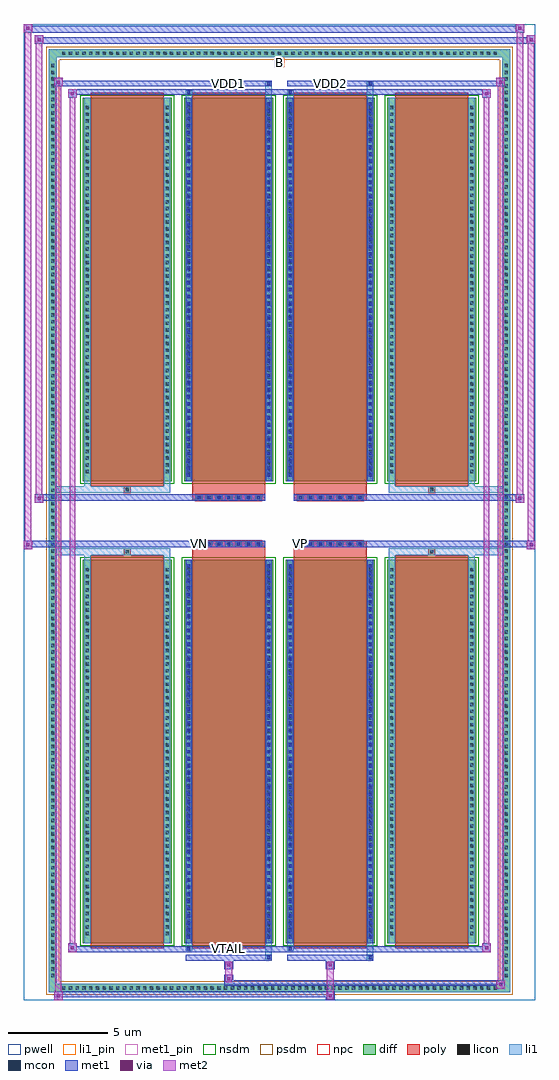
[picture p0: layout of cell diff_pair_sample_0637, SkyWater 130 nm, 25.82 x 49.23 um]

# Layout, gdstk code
import gdstk
lib = gdstk.Library(unit=1e-6, precision=5e-09)
def R(c, l, rs):  # rectangles x0, y0, x1, y1
    for r in rs: c.add(gdstk.rectangle(r[:2], r[2:], *l))
def A(c, l, x, y, w, h, nx, ny, dx, dy):  # array of equal rectangles
    R(c, l, [(x+i*dx, y+j*dy, x+i*dx+w, y+j*dy+h) for i in range(nx) for j in range(ny)])
def P(c, l, *ps):  # polygons
    for p in ps: c.add(gdstk.Polygon(p, *l))
pwell = (64, 44)
diff = (65, 20)
poly = (66, 20)
licon = (66, 44)
li1_pin = (67, 16)
li1 = (67, 20)
mcon = (67, 44)
met1_pin = (68, 16)
met1 = (68, 20)
via = (68, 44)
met2 = (69, 20)
nsdm = (93, 44)
psdm = (94, 20)
npc = (95, 20)

diff_pair_sample_0637 = lib.new_cell('diff_pair_sample_0637')
R(diff_pair_sample_0637, pwell, [(-12.91,-24.18,12.91,25.05), (-10.23,-22.37,-0.01,-0.805), (0.01,-22.37,10.23,-0.805), (-10.23,0.805,-0.01,22.37), (0.01,0.805,10.23,22.37)])
A(diff_pair_sample_0637, diff, -11.085, -23.78, 0.41, 0.41, 65, 2, 0.34, 47.15)
A(diff_pair_sample_0637, diff, -11.64, -23.155, 0.41, 0.41, 1, 136, 0, 0.34)
A(diff_pair_sample_0637, diff, 11.23, -23.155, 0.41, 0.41, 1, 136, 0, 0.34)
A(diff_pair_sample_0637, diff, -9.92, -21.325, 4.48, 19.34, 4, 2, 5.12, 23.31)
R(diff_pair_sample_0637, diff, [(-11.085,-23.78,11.085,-23.37), (-11.64,-23.155,-11.23,23.155), (11.23,-23.155,11.64,23.155), (-11.085,23.37,11.085,23.78)])
P(diff_pair_sample_0637, diff, [(11.64,23.78),(-11.64,23.78),(-11.64,-23.37),(-11.23,-23.37),(-11.23,23.37),(11.23,23.37),(11.23,-23.37),(-11.23,-23.37),(-11.64,-23.37),(-11.64,-23.78),(11.64,-23.78)])
A(diff_pair_sample_0637, poly, -9.53, -21.575, 3.7, 19.84, 4, 2, 5.12, 23.31)
A(diff_pair_sample_0637, poly, -4.225, -1.335, 0.33, 0.33, 7, 2, 0.5, 2.34)
A(diff_pair_sample_0637, poly, 0.895, -1.335, 0.33, 0.33, 7, 2, 0.5, 2.34)
R(diff_pair_sample_0637, poly, [(-7.845,-1.735,-7.515,-1.405), (-7.845,-1.735,-7.515,-1.405), (-4.41,-1.735,-0.71,-1.335), (0.71,-1.735,4.41,-1.335), (7.515,-1.735,7.845,-1.405), (7.515,-1.735,7.845,-1.405), (-4.41,-1.335,-0.71,-1.005), (0.71,-1.335,4.41,-1.005), (-4.41,1.005,-0.71,1.335), (0.71,1.005,4.41,1.335), (-4.41,1.335,-0.71,1.735), (0.71,1.335,4.41,1.735), (-7.845,1.405,-7.515,1.735), (-7.845,1.405,-7.515,1.735), (7.515,1.405,7.845,1.735), (7.515,1.405,7.845,1.735)])
A(diff_pair_sample_0637, licon, -10.965, -23.66, 0.17, 0.17, 65, 2, 0.34, 47.15)
A(diff_pair_sample_0637, licon, -11.52, -23.035, 0.17, 0.17, 1, 136, 0, 0.34)
A(diff_pair_sample_0637, licon, 11.35, -23.035, 0.17, 0.17, 1, 136, 0, 0.34)
A(diff_pair_sample_0637, licon, -9.78, -20.92, 0.17, 0.17, 1, 55, 0, 0.34)
A(diff_pair_sample_0637, licon, -5.75, -20.92, 0.17, 0.17, 1, 55, 0, 0.34)
A(diff_pair_sample_0637, licon, -4.66, -20.92, 0.17, 0.17, 1, 55, 0, 0.34)
A(diff_pair_sample_0637, licon, -0.63, -20.92, 0.17, 0.17, 1, 55, 0, 0.34)
A(diff_pair_sample_0637, licon, 0.46, -20.92, 0.17, 0.17, 1, 55, 0, 0.34)
A(diff_pair_sample_0637, licon, 4.49, -20.92, 0.17, 0.17, 1, 55, 0, 0.34)
A(diff_pair_sample_0637, licon, 5.58, -20.92, 0.17, 0.17, 1, 55, 0, 0.34)
A(diff_pair_sample_0637, licon, 9.61, -20.92, 0.17, 0.17, 1, 55, 0, 0.34)
A(diff_pair_sample_0637, licon, -4.145, -1.255, 0.17, 0.17, 7, 2, 0.5, 2.34)
A(diff_pair_sample_0637, licon, 0.975, -1.255, 0.17, 0.17, 7, 2, 0.5, 2.34)
A(diff_pair_sample_0637, licon, -9.78, 2.39, 0.17, 0.17, 1, 55, 0, 0.34)
A(diff_pair_sample_0637, licon, -5.75, 2.39, 0.17, 0.17, 1, 55, 0, 0.34)
A(diff_pair_sample_0637, licon, -4.66, 2.39, 0.17, 0.17, 1, 55, 0, 0.34)
A(diff_pair_sample_0637, licon, -0.63, 2.39, 0.17, 0.17, 1, 55, 0, 0.34)
A(diff_pair_sample_0637, licon, 0.46, 2.39, 0.17, 0.17, 1, 55, 0, 0.34)
A(diff_pair_sample_0637, licon, 4.49, 2.39, 0.17, 0.17, 1, 55, 0, 0.34)
A(diff_pair_sample_0637, licon, 5.58, 2.39, 0.17, 0.17, 1, 55, 0, 0.34)
A(diff_pair_sample_0637, licon, 9.61, 2.39, 0.17, 0.17, 1, 55, 0, 0.34)
R(diff_pair_sample_0637, licon, [(-7.765,-1.655,-7.595,-1.485), (7.595,-1.655,7.765,-1.485), (-7.765,1.485,-7.595,1.655), (7.595,1.485,7.765,1.655)])
R(diff_pair_sample_0637, li1_pin, [(-0.25,22.87,0.25,23.37)])
A(diff_pair_sample_0637, li1, -11.045, -23.74, 0.33, 0.33, 65, 2, 0.34, 47.15)
A(diff_pair_sample_0637, li1, -11.6, -23.115, 0.33, 0.33, 1, 136, 0, 0.34)
A(diff_pair_sample_0637, li1, 11.27, -23.115, 0.33, 0.33, 1, 136, 0, 0.34)
A(diff_pair_sample_0637, li1, -4.66, -21.1, 0.17, 0.17, 1, 53, 0, 0.36)
A(diff_pair_sample_0637, li1, -0.63, -21.1, 0.17, 0.17, 1, 53, 0, 0.36)
A(diff_pair_sample_0637, li1, 0.46, -21.1, 0.17, 0.17, 1, 53, 0, 0.36)
A(diff_pair_sample_0637, li1, 4.49, -21.1, 0.17, 0.17, 1, 53, 0, 0.36)
A(diff_pair_sample_0637, li1, -9.86, -21, 0.33, 0.33, 1, 55, 0, 0.34)
A(diff_pair_sample_0637, li1, -5.83, -21, 0.33, 0.33, 1, 55, 0, 0.34)
A(diff_pair_sample_0637, li1, -4.74, -21, 0.33, 0.33, 1, 55, 0, 0.34)
A(diff_pair_sample_0637, li1, -0.71, -21, 0.33, 0.33, 1, 55, 0, 0.34)
A(diff_pair_sample_0637, li1, 0.38, -21, 0.33, 0.33, 1, 55, 0, 0.34)
A(diff_pair_sample_0637, li1, 4.41, -21, 0.33, 0.33, 1, 55, 0, 0.34)
A(diff_pair_sample_0637, li1, 5.5, -21, 0.33, 0.33, 1, 55, 0, 0.34)
A(diff_pair_sample_0637, li1, 9.53, -21, 0.33, 0.33, 1, 55, 0, 0.34)
A(diff_pair_sample_0637, li1, -4.225, -1.335, 0.33, 0.33, 7, 2, 0.5, 2.34)
A(diff_pair_sample_0637, li1, 0.895, -1.335, 0.33, 0.33, 7, 2, 0.5, 2.34)
A(diff_pair_sample_0637, li1, -4.66, 2.21, 0.17, 0.17, 1, 53, 0, 0.36)
A(diff_pair_sample_0637, li1, -0.63, 2.21, 0.17, 0.17, 1, 53, 0, 0.36)
A(diff_pair_sample_0637, li1, 0.46, 2.21, 0.17, 0.17, 1, 53, 0, 0.36)
A(diff_pair_sample_0637, li1, 4.49, 2.21, 0.17, 0.17, 1, 53, 0, 0.36)
A(diff_pair_sample_0637, li1, -9.86, 2.31, 0.33, 0.33, 1, 55, 0, 0.34)
A(diff_pair_sample_0637, li1, -5.83, 2.31, 0.33, 0.33, 1, 55, 0, 0.34)
A(diff_pair_sample_0637, li1, -4.74, 2.31, 0.33, 0.33, 1, 55, 0, 0.34)
A(diff_pair_sample_0637, li1, -0.71, 2.31, 0.33, 0.33, 1, 55, 0, 0.34)
A(diff_pair_sample_0637, li1, 0.38, 2.31, 0.33, 0.33, 1, 55, 0, 0.34)
A(diff_pair_sample_0637, li1, 4.41, 2.31, 0.33, 0.33, 1, 55, 0, 0.34)
A(diff_pair_sample_0637, li1, 5.5, 2.31, 0.33, 0.33, 1, 55, 0, 0.34)
A(diff_pair_sample_0637, li1, 9.53, 2.31, 0.33, 0.33, 1, 55, 0, 0.34)
R(diff_pair_sample_0637, li1, [(-11.64,-23.78,-11.23,-23.37), (-11.64,-23.78,-11.23,-23.37), (-11.23,-23.78,11.23,-23.37), (11.23,-23.78,11.64,-23.37), (11.23,-23.78,11.64,-23.37), (-11.64,-23.37,-11.23,23.37), (11.23,-23.37,11.64,23.37), (-0.71,-22.13,-0.38,-21.325), (-0.63,-22.13,-0.46,-21.96), (4.41,-22.13,4.74,-21.325), (4.49,-22.13,4.66,-21.96), (-4.74,-21.7,-4.41,-21.325), (-4.66,-21.7,-4.49,-21.53), (0.38,-21.7,0.71,-21.325), (0.46,-21.7,0.63,-21.53), (-9.86,-21.325,-9.53,-1.985), (-5.83,-21.325,-5.5,-1.985), (-4.74,-21.325,-4.41,-1.985), (-0.71,-21.325,-0.38,-1.985), (0.38,-21.325,0.71,-1.985), (4.41,-21.325,4.74,-1.985), (5.5,-21.325,5.83,-1.985), (9.53,-21.325,9.86,-1.985), (-4.66,-21.1,-4.49,-2.21), (-0.63,-21.1,-0.46,-2.21), (0.46,-21.1,0.63,-2.21), (4.49,-21.1,4.66,-2.21), (-9.86,-1.985,-9.53,-1.405), (-5.83,-1.985,-5.5,-1.405), (5.5,-1.985,5.83,-1.405), (9.53,-1.985,9.86,-1.405), (-11.64,-1.735,-7.845,-1.405), (-9.86,-1.735,-7.845,-1.405), (-7.845,-1.735,-7.515,-1.405), (-7.515,-1.735,-5.5,-1.405), (5.5,-1.735,7.515,-1.405), (7.515,-1.735,7.845,-1.405), (7.515,-1.735,11.64,-1.405), (7.845,-1.735,9.86,-1.405), (-11.64,1.405,-7.845,1.735), (-9.86,1.405,-7.845,1.735), (-9.86,1.405,-9.53,1.985), (-7.845,1.405,-7.515,1.735), (-7.515,1.405,-5.5,1.735), (-5.83,1.405,-5.5,1.985), (5.5,1.405,7.515,1.735), (5.5,1.405,5.83,1.985), (7.515,1.405,7.845,1.735), (7.515,1.405,11.64,1.735), (7.845,1.405,9.86,1.735), (9.53,1.405,9.86,1.985), (-9.86,1.985,-9.53,21.325), (-5.83,1.985,-5.5,21.325), (-4.74,1.985,-4.41,21.325), (-0.71,1.985,-0.38,21.325), (0.38,1.985,0.71,21.325), (4.41,1.985,4.74,21.325), (5.5,1.985,5.83,21.325), (9.53,1.985,9.86,21.325), (-4.66,2.21,-4.49,21.1), (-0.63,2.21,-0.46,21.1), (0.46,2.21,0.63,21.1), (4.49,2.21,4.66,21.1), (-4.74,21.325,-4.41,21.7), (-0.71,21.325,-0.38,22.13), (0.38,21.325,0.71,21.7), (4.41,21.325,4.74,22.13), (-4.66,21.53,-4.49,21.7), (0.46,21.53,0.63,21.7), (-0.63,21.96,-0.46,22.13), (4.49,21.96,4.66,22.13), (-11.64,23.37,-11.23,23.78), (-11.64,23.37,-11.23,23.78), (-11.23,23.37,11.23,23.78), (11.23,23.37,11.64,23.78), (11.23,23.37,11.64,23.78)])
A(diff_pair_sample_0637, mcon, -4.66, -21.1, 0.17, 0.17, 1, 53, 0, 0.36)
A(diff_pair_sample_0637, mcon, -0.63, -21.1, 0.17, 0.17, 1, 53, 0, 0.36)
A(diff_pair_sample_0637, mcon, 0.46, -21.1, 0.17, 0.17, 1, 53, 0, 0.36)
A(diff_pair_sample_0637, mcon, 4.49, -21.1, 0.17, 0.17, 1, 53, 0, 0.36)
A(diff_pair_sample_0637, mcon, -4.145, -1.255, 0.17, 0.17, 7, 2, 0.5, 2.34)
A(diff_pair_sample_0637, mcon, 0.975, -1.255, 0.17, 0.17, 7, 2, 0.5, 2.34)
A(diff_pair_sample_0637, mcon, -4.66, 2.21, 0.17, 0.17, 1, 53, 0, 0.36)
A(diff_pair_sample_0637, mcon, -0.63, 2.21, 0.17, 0.17, 1, 53, 0, 0.36)
A(diff_pair_sample_0637, mcon, 0.46, 2.21, 0.17, 0.17, 1, 53, 0, 0.36)
A(diff_pair_sample_0637, mcon, 4.49, 2.21, 0.17, 0.17, 1, 53, 0, 0.36)
R(diff_pair_sample_0637, mcon, [(-0.63,-22.13,-0.46,-21.96), (4.49,-22.13,4.66,-21.96), (-4.66,-21.7,-4.49,-21.53), (0.46,-21.7,0.63,-21.53), (-4.66,21.53,-4.49,21.7), (0.46,21.53,0.63,21.7), (-0.63,21.96,-0.46,22.13), (4.49,21.96,4.66,22.13)])
R(diff_pair_sample_0637, met1_pin, [(-2.695,-21.74,-2.425,-21.47), (-4.195,-1.295,-3.925,-1.025), (0.925,-1.295,1.195,-1.025), (-2.695,21.92,-2.425,22.19), (2.425,21.92,2.695,22.19)])
A(diff_pair_sample_0637, met1, -4.72, -21.16, 0.29, 0.29, 1, 53, 0, 0.36)
A(diff_pair_sample_0637, met1, -0.69, -21.16, 0.29, 0.29, 1, 53, 0, 0.36)
A(diff_pair_sample_0637, met1, 0.4, -21.16, 0.29, 0.29, 1, 53, 0, 0.36)
A(diff_pair_sample_0637, met1, 4.43, -21.16, 0.29, 0.29, 1, 53, 0, 0.36)
A(diff_pair_sample_0637, met1, -4.205, -1.315, 0.29, 0.29, 7, 2, 0.5, 2.34)
A(diff_pair_sample_0637, met1, 0.915, -1.315, 0.29, 0.29, 7, 2, 0.5, 2.34)
A(diff_pair_sample_0637, met1, -4.72, 2.15, 0.29, 0.29, 1, 53, 0, 0.36)
A(diff_pair_sample_0637, met1, -0.69, 2.15, 0.29, 0.29, 1, 53, 0, 0.36)
A(diff_pair_sample_0637, met1, 0.4, 2.15, 0.29, 0.29, 1, 53, 0, 0.36)
A(diff_pair_sample_0637, met1, 4.43, 2.15, 0.29, 0.29, 1, 53, 0, 0.36)
R(diff_pair_sample_0637, met1, [(-11.37,-24.18,-10.94,-23.75), (2.345,-24.18,2.775,-23.75), (-11.37,-24.04,2.775,-23.75), (10.94,-23.61,11.37,-23.18), (-2.775,-23.47,11.37,-23.18), (-2.775,-23.33,-2.345,-22.9), (-2.775,-22.62,-2.345,-22.19), (2.345,-22.62,2.775,-22.19), (-4.72,-22.19,-0.4,-21.9), (-0.69,-22.19,-0.4,-21.9), (0.4,-22.19,4.72,-21.9), (4.43,-22.19,4.72,-21.9), (-10.66,-21.76,-10.23,-21.33), (-10.66,-21.76,-4.72,-21.47), (-4.72,-21.76,-4.43,-21.47), (-4.72,-21.76,-0.4,-21.47), (-0.4,-21.76,0.4,-21.47), (0.4,-21.76,0.69,-21.47), (0.4,-21.76,4.72,-21.47), (4.72,-21.76,10.66,-21.47), (10.23,-21.76,10.66,-21.33), (-4.72,-21.325,-4.43,-1.985), (-0.69,-21.325,-0.4,-1.985), (0.4,-21.325,0.69,-1.985), (4.43,-21.325,4.72,-1.985), (-12.91,-1.435,-12.48,-1.005), (12.48,-1.435,12.91,-1.005), (-12.91,-1.335,-0.71,-1.005), (-4.41,-1.335,-0.71,-1.005), (0.71,-1.335,4.41,-1.005), (0.71,-1.335,12.91,-1.005), (-12.34,0.905,-11.91,1.335), (11.91,0.905,12.34,1.335), (-12.34,1.005,-4.41,1.335), (-4.41,1.005,-0.71,1.335), (0.71,1.005,4.41,1.335), (4.41,1.005,12.34,1.335), (-4.72,1.985,-4.43,21.325), (-0.69,1.985,-0.4,21.325), (0.4,1.985,0.69,21.325), (4.43,1.985,4.72,21.325), (-10.66,21.33,-10.23,21.76), (10.23,21.33,10.66,21.76), (-10.66,21.47,-4.72,21.76), (-4.72,21.47,-4.43,21.76), (-4.72,21.47,-0.4,21.76), (-0.4,21.47,0.4,21.76), (0.4,21.47,0.69,21.76), (0.4,21.47,4.72,21.76), (4.72,21.47,10.66,21.76), (-11.37,21.9,-10.94,22.33), (-11.37,21.9,-4.72,22.19), (-4.72,21.9,-0.4,22.19), (-0.69,21.9,-0.4,22.19), (0.4,21.9,4.72,22.19), (4.43,21.9,4.72,22.19), (4.72,21.9,11.37,22.19), (10.94,21.9,11.37,22.33), (-12.34,24.05,-11.91,24.48), (-12.34,24.05,-10.23,24.38), (-10.23,24.05,10.23,24.38), (10.23,24.05,12.91,24.38), (12.48,24.05,12.91,24.48), (-12.91,24.62,-12.48,25.05), (-12.91,24.62,-10.23,24.95), (-10.23,24.62,10.23,24.95), (10.23,24.62,12.34,24.95), (11.91,24.62,12.34,25.05)])
R(diff_pair_sample_0637, via, [(-11.23,-24.04,-11.08,-23.89), (2.485,-24.04,2.635,-23.89), (11.08,-23.47,11.23,-23.32), (-2.635,-23.19,-2.485,-23.04), (-2.635,-22.48,-2.485,-22.33), (2.485,-22.48,2.635,-22.33), (-10.52,-21.62,-10.37,-21.47), (10.37,-21.62,10.52,-21.47), (-12.77,-1.295,-12.62,-1.145), (12.62,-1.295,12.77,-1.145), (-12.2,1.045,-12.05,1.195), (12.05,1.045,12.2,1.195), (-10.52,21.47,-10.37,21.62), (10.37,21.47,10.52,21.62), (-11.23,22.04,-11.08,22.19), (11.08,22.04,11.23,22.19), (-12.2,24.19,-12.05,24.34), (12.62,24.19,12.77,24.34), (-12.77,24.76,-12.62,24.91), (12.05,24.76,12.2,24.91)])
R(diff_pair_sample_0637, met2, [(-11.37,-24.18,-10.94,-23.75), (-11.3,-24.18,-11.01,22.33), (-11.01,-24.18,-10.94,-23.75), (-11.32,-24.13,-10.99,-23.8), (2.395,-24.13,2.725,-23.8), (2.395,-23.8,2.725,-22.57), (10.94,-23.61,11.37,-23.18), (11.01,-23.61,11.3,22.33), (11.3,-23.61,11.37,-23.18), (10.99,-23.56,11.32,-23.23), (-2.725,-23.28,-2.395,-22.95), (-2.725,-22.95,-2.395,-22.57), (-2.725,-22.57,-2.395,-22.24), (2.395,-22.57,2.725,-22.24), (-10.66,-21.76,-10.23,-21.33), (-10.59,-21.76,-10.3,21.76), (-10.3,-21.76,-10.23,-21.33), (10.23,-21.76,10.66,-21.33), (10.3,-21.76,10.59,21.76), (10.59,-21.76,10.66,-21.33), (-10.61,-21.71,-10.28,-21.38), (10.28,-21.71,10.61,-21.38), (-12.91,-1.435,-12.48,-1.005), (-12.86,-1.435,-12.53,25.05), (-12.53,-1.435,-12.48,-1.005), (12.48,-1.435,12.91,-1.005), (12.53,-1.435,12.86,24.48), (12.86,-1.435,12.91,-1.005), (-12.86,-1.385,-12.53,-1.055), (12.53,-1.385,12.86,-1.055), (-12.34,0.905,-11.91,1.335), (-12.29,0.905,-11.96,24.48), (-11.96,0.905,-11.91,1.335), (11.91,0.905,12.34,1.335), (11.96,0.905,12.29,25.05), (12.29,0.905,12.34,1.335), (-12.29,0.955,-11.96,1.285), (11.96,0.955,12.29,1.285), (-10.66,21.33,-10.23,21.76), (-10.3,21.33,-10.23,21.76), (10.23,21.33,10.66,21.76), (10.59,21.33,10.66,21.76), (-10.61,21.38,-10.28,21.71), (10.28,21.38,10.61,21.71), (-11.37,21.9,-10.94,22.33), (-11.01,21.9,-10.94,22.33), (10.94,21.9,11.37,22.33), (11.3,21.9,11.37,22.33), (-11.32,21.95,-10.99,22.28), (10.99,21.95,11.32,22.28), (-12.34,24.05,-11.91,24.48), (-11.96,24.05,-11.91,24.48), (12.48,24.05,12.91,24.48), (12.86,24.05,12.91,24.48), (-12.29,24.1,-11.96,24.43), (12.53,24.1,12.86,24.43), (-12.91,24.62,-12.48,25.05), (-12.53,24.62,-12.48,25.05), (11.91,24.62,12.34,25.05), (12.29,24.62,12.34,25.05), (-12.86,24.67,-12.53,25), (11.96,24.67,12.29,25)])
A(diff_pair_sample_0637, nsdm, -10.05, -21.455, 4.74, 19.6, 4, 2, 5.12, 23.31)
P(diff_pair_sample_0637, psdm, [(11.77,23.91),(-11.77,23.91),(-11.77,-23.24),(-11.1,-23.24),(-11.1,23.24),(11.1,23.24),(11.1,-23.24),(-11.1,-23.24),(-11.77,-23.24),(-11.77,-23.91),(11.77,-23.91)])
A(diff_pair_sample_0637, npc, -4.245, -1.355, 0.37, 0.37, 7, 2, 0.5, 2.34)
A(diff_pair_sample_0637, npc, 0.875, -1.355, 0.37, 0.37, 7, 2, 0.5, 2.34)
R(diff_pair_sample_0637, npc, [(-7.865,-1.755,-7.495,-1.385), (7.495,-1.755,7.865,-1.385), (-4.245,-1.355,-3.375,-0.985), (-4.245,-1.355,-3.375,-0.985), (-3.745,-1.355,-2.875,-0.985), (-3.745,-1.355,-2.875,-0.985), (-3.245,-1.355,-2.375,-0.985), (-3.245,-1.355,-2.375,-0.985), (-2.745,-1.355,-1.875,-0.985), (-2.745,-1.355,-1.875,-0.985), (-2.245,-1.355,-1.375,-0.985), (-2.245,-1.355,-1.375,-0.985), (-1.745,-1.355,-0.875,-0.985), (-1.745,-1.355,-0.875,-0.985), (0.875,-1.355,1.745,-0.985), (0.875,-1.355,1.745,-0.985), (1.375,-1.355,2.245,-0.985), (1.375,-1.355,2.245,-0.985), (1.875,-1.355,2.745,-0.985), (1.875,-1.355,2.745,-0.985), (2.375,-1.355,3.245,-0.985), (2.375,-1.355,3.245,-0.985), (2.875,-1.355,3.745,-0.985), (2.875,-1.355,3.745,-0.985), (3.375,-1.355,4.245,-0.985), (3.375,-1.355,4.245,-0.985), (-4.245,0.985,-3.375,1.355), (-4.245,0.985,-3.375,1.355), (-3.745,0.985,-2.875,1.355), (-3.745,0.985,-2.875,1.355), (-3.245,0.985,-2.375,1.355), (-3.245,0.985,-2.375,1.355), (-2.745,0.985,-1.875,1.355), (-2.745,0.985,-1.875,1.355), (-2.245,0.985,-1.375,1.355), (-2.245,0.985,-1.375,1.355), (-1.745,0.985,-0.875,1.355), (-1.745,0.985,-0.875,1.355), (0.875,0.985,1.745,1.355), (0.875,0.985,1.745,1.355), (1.375,0.985,2.245,1.355), (1.375,0.985,2.245,1.355), (1.875,0.985,2.745,1.355), (1.875,0.985,2.745,1.355), (2.375,0.985,3.245,1.355), (2.375,0.985,3.245,1.355), (2.875,0.985,3.745,1.355), (2.875,0.985,3.745,1.355), (3.375,0.985,4.245,1.355), (3.375,0.985,4.245,1.355), (-7.865,1.385,-7.495,1.755), (7.495,1.385,7.865,1.755)])
diff_pair_sample_0637.add(gdstk.Label('VTAIL', (-2.56,-21.605), layer=68, texttype=5))
diff_pair_sample_0637.add(gdstk.Label('VN', (-4.06,-1.16), layer=68, texttype=5))
diff_pair_sample_0637.add(gdstk.Label('VP', (1.06,-1.16), layer=68, texttype=5))
diff_pair_sample_0637.add(gdstk.Label('B', (0,23.12), layer=67, texttype=5))
diff_pair_sample_0637.add(gdstk.Label('VDD2', (2.56,22.055), layer=68, texttype=5))
diff_pair_sample_0637.add(gdstk.Label('VDD1', (-2.56,22.055), layer=68, texttype=5))

lib.write_gds('diff_pair_sample_0637.gds')
